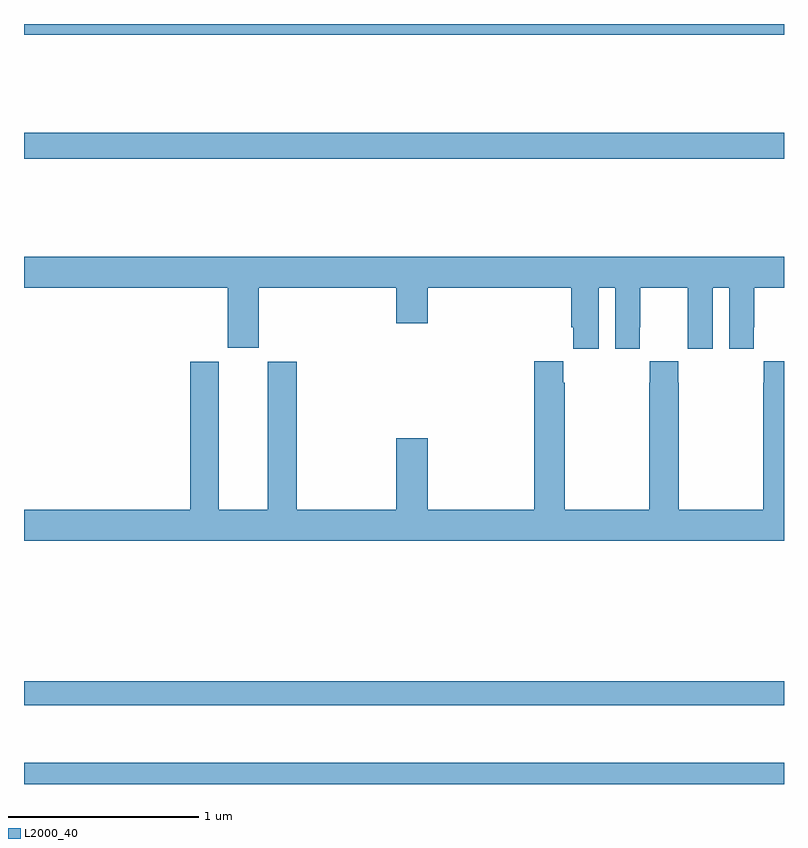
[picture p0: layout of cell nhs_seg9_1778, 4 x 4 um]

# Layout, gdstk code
import gdstk
lib = gdstk.Library(unit=1e-6, precision=1e-09)
def R(c, l, rs):  # rectangles x0, y0, x1, y1
    for r in rs: c.add(gdstk.rectangle(r[:2], r[2:], *l))
def P(c, l, *ps):  # polygons
    for p in ps: c.add(gdstk.Polygon(p, *l))
L2000_40 = (2000, 40)

nhs_seg9_1778 = lib.new_cell('nhs_seg9_1778')
R(nhs_seg9_1778, L2000_40, [(211,1168.5,215,1168.612), (211,1168.914,215,1169.042), (211,1171.792,215,1171.928), (211,1172.444,215,1172.5)])
P(nhs_seg9_1778, L2000_40, [(211,1171.112),(212.072,1171.112),(212.072,1170.795),(212.236,1170.795),(212.236,1171.112),(212.96,1171.112),(212.96,1170.924),(213.124,1170.924),(213.124,1171.112),(213.881,1171.112),(213.881,1170.904),(213.89,1170.904),(213.89,1170.792),(214.024,1170.792),(214.024,1171.112),(214.112,1171.112),(214.112,1170.792),(214.242,1170.792),(214.242,1170.904),(214.243,1170.904),(214.243,1171.112),(214.493,1171.112),(214.493,1170.904),(214.494,1170.904),(214.494,1170.792),(214.624,1170.792),(214.624,1171.112),(214.712,1171.112),(214.712,1170.792),(214.842,1170.792),(214.842,1170.904),(214.843,1170.904),(214.843,1171.112),(215,1171.112),(215,1171.276),(211,1171.276)],
  [(212.282,1170.723),(212.282,1169.944),(212.026,1169.944),(212.026,1170.723),(211.874,1170.723),(211.874,1169.944),(211,1169.944),(211,1169.78),(215,1169.78),(215,1170.724),(214.893,1170.724),(214.893,1170.611),(214.891,1170.611),(214.891,1169.944),(214.446,1169.944),(214.446,1170.611),(214.443,1170.611),(214.443,1170.724),(214.293,1170.724),(214.293,1170.611),(214.291,1170.611),(214.291,1169.944),(213.846,1169.944),(213.846,1170.611),(213.839,1170.611),(213.839,1170.724),(213.686,1170.724),(213.686,1169.944),(213.124,1169.944),(213.124,1170.319),(212.96,1170.319),(212.96,1169.944),(212.435,1169.944),(212.435,1170.723)])

lib.write_gds('nhs_seg9_1778.gds')
